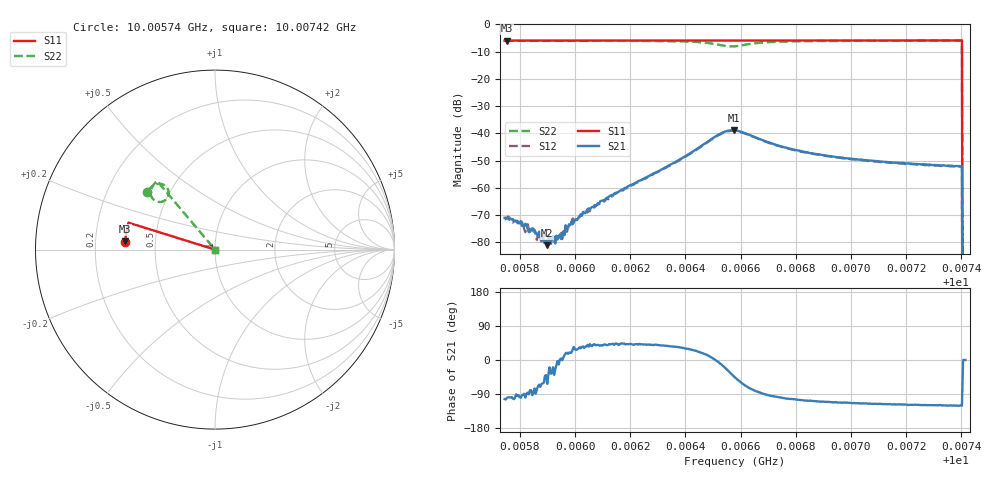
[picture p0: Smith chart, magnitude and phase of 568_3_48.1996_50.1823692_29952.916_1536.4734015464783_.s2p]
#  HZ  S  RI  R  50.00
! Rohde & Schwarz Vector Network Analyzer
! Rohde-Schwarz,ZNB20-2Port,1311601062101988,3.16
! Created: UTC 3/20/2024, 12:01:35 PM
! freq[Hz]  re:S11  im:S11  re:S21  im:S21  re:S12  im:S12  re:S22  im:S22
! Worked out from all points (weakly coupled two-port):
!   401 points, 10.00574 GHz to 10.00742 GHz, reference 50 ohm
!   highest |S21| = -38.89 dB at 10.00658 GHz (marker M1); lowest = -81.1 dB at 10.0059 GHz (marker M2)
!   lowest |S11| = -6.0 dB at 10.00575 GHz (marker M3), VSWR 3.01, Z = 16.6 + j2.01 ohm
!   |S11| at or under -10 dB: 10.0074 GHz to end of sweep
!   |S22| runs from - to -6.0 dB; largest |S21 - S12| = 0.00076
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1.0005745e10  -0.4998 0.0446  -6.36e-05 -0.000274  -2.45e-05 -0.000266  -0.3803 0.3207
1.0005753e10  -0.4997 0.0452  -4.75e-05 -0.000276  -4.53e-05 -0.000274  -0.3799 0.3212
1.0005799e10  -0.4996 0.0482  -3.13e-05 -0.00022  1.38e-05 -0.000205  -0.3775 0.324
1.0005824e10  -0.4994 0.05  3.27e-06 -0.00021  2.08e-06 -0.000194  -0.3763 0.3255
1.0005836e10  -0.4993 0.0506  2.72e-05 -0.000153  6.77e-06 -0.000182  -0.3758 0.3262
1.0005874e10  -0.4994 0.0531  4.15e-05 -0.000119  5.7e-05 -0.000119  -0.3739 0.3287
1.0005891e10  -0.4991 0.0543  8e-05 -7.21e-05  8.53e-05 -0.000114  -0.3729 0.3297
1.0005899e10  -0.4992 0.0548  4.02e-05 -7.87e-05  8.11e-05 -5.05e-05  -0.3725 0.3301
1.0005907e10  -0.4992 0.0553  0.000122 -4.23e-05  3.33e-05 -8.89e-05  -0.3718 0.3307
1.0005945e10  -0.4988 0.0577  0.000138 3.97e-06  0.000128 -5.25e-07  -0.3698 0.3331
1.0005987e10  -0.4987 0.0604  0.000227 8.03e-05  0.000214 8.75e-05  -0.3674 0.3358
1.0006024e10  -0.4984 0.063  0.000253 0.000171  0.000267 0.000187  -0.3649 0.3384
1.000612e10  -0.4978 0.0692  0.000518 0.000435  0.000459 0.000409  -0.3581 0.3452
1.0006304e10  -0.4962 0.0811  0.00158 0.0013  0.0015 0.00133  -0.3382 0.3596
1.0006526e10  -0.4932 0.0952  0.00966 -0.00152  0.00951 -0.000948  -0.259 0.3255
1.0006576e10  -0.4928 0.0977  0.00828 -0.00779  0.00857 -0.00709  -0.2831 0.2721
1.000658e10  -0.4927 0.0979  0.00785 -0.0081  0.00814 -0.00748  -0.2876 0.2697
1.0006668e10  -0.4924 0.1033  0.000639 -0.00789  0.00103 -0.0077  -0.3527 0.2918
1.000686e10  -0.4905 0.1159  -0.00133 -0.00411  -0.00111 -0.00405  -0.3538 0.3414
1.000714e10  -0.4867 0.1337  -0.0013 -0.00264  -0.00116 -0.00265  -0.3373 0.3673
1.0007394e10  -0.4824 0.1497  -0.00128 -0.00217  -0.00114 -0.00216  -0.3235 0.3826
1.0007415e10  0 0  0 0  0 0  0 0
